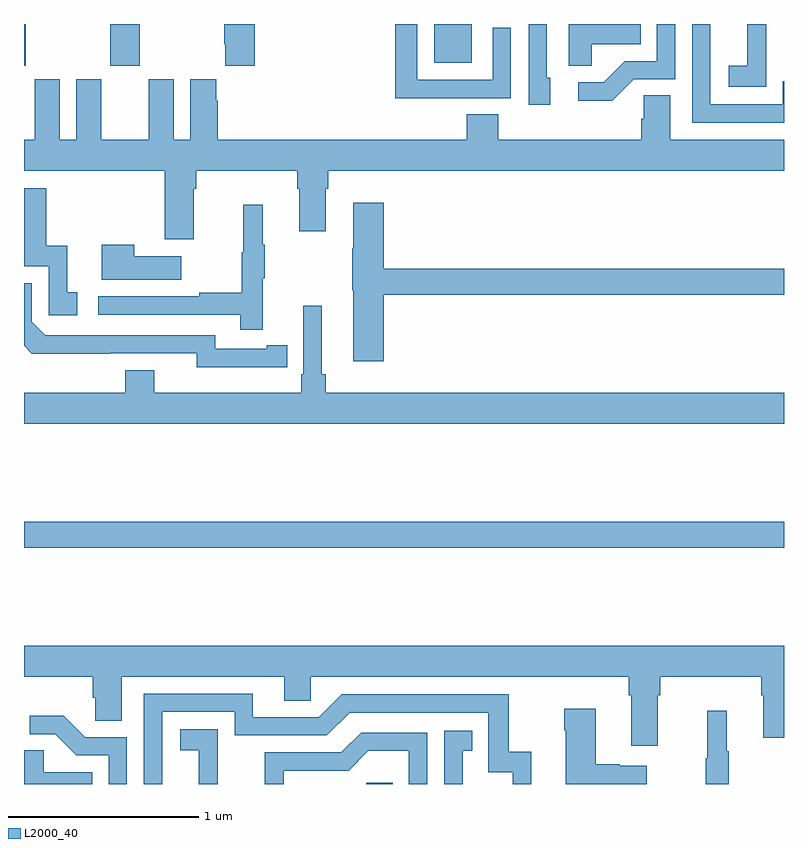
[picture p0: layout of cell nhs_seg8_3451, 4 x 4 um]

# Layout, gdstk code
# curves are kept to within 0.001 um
import gdstk
lib = gdstk.Library(unit=1e-6, precision=1e-09)
def R(c, l, rs):  # rectangles x0, y0, x1, y1
    for r in rs: c.add(gdstk.rectangle(r[:2], r[2:], *l))
def P(c, l, *ps):  # polygons
    for p in ps: c.add(gdstk.Polygon(p, *l))
L2000_40 = (2000, 40)

nhs_seg8_3451 = lib.new_cell('nhs_seg8_3451')
R(nhs_seg8_3451, L2000_40, [(324.801,1151.9,324.941,1151.907), (323,1153.144,327,1153.28), (323,1155.681,323.01,1155.9), (323.455,1155.681,323.61,1155.9)])
P(nhs_seg8_3451, L2000_40, [(325.357,1155.9),(325.199,1155.9),(325.199,1155.898),(325.16,1155.898),(325.16,1155.695),(325.357,1155.695)],
  [(324.215,1155.9),(324.055,1155.9),(324.055,1155.793),(324.059,1155.793),(324.059,1155.681),(324.215,1155.681)],
  [(326.907,1155.775),(326.906,1155.775),(326.906,1155.9),(326.807,1155.9),(326.807,1155.679),(326.709,1155.679),(326.709,1155.569),(326.907,1155.569)],
  [(325.247,1155.51),(325.563,1155.51),(325.563,1155.88),(325.467,1155.88),(325.467,1155.606),(325.071,1155.606),(325.071,1155.9),(324.955,1155.9),(324.955,1155.509),(325.247,1155.509)],
  [(327,1155.6),(326.994,1155.6),(326.994,1155.477),(326.613,1155.477),(326.613,1155.9),(326.517,1155.9),(326.517,1155.381),(327,1155.381)],
  [(326.208,1155.609),(326.427,1155.609),(326.427,1155.9),(326.331,1155.9),(326.331,1155.705),(326.162,1155.705),(326.051,1155.594),(325.917,1155.594),(325.917,1155.497),(326.095,1155.497)],
  [(325.771,1155.618),(325.752,1155.618),(325.752,1155.9),(325.656,1155.9),(325.656,1155.474),(325.771,1155.474)],
  [(325.989,1155.794),(326.246,1155.794),(326.246,1155.898),(325.868,1155.898),(325.868,1155.679),(325.989,1155.679)],
  [(323.893,1155.032),(323.906,1155.032),(323.906,1155.128),(324.437,1155.128),(324.437,1155.032),(324.449,1155.032),(324.449,1154.808),(324.589,1154.808),(324.589,1155.032),(324.602,1155.032),(324.602,1155.128),(327,1155.128),(327,1155.292),(326.401,1155.292),(326.401,1155.524),(326.262,1155.524),(326.262,1155.401),(326.249,1155.401),(326.249,1155.292),(325.496,1155.292),(325.496,1155.425),(325.331,1155.425),(325.331,1155.292),(324.02,1155.292),(324.02,1155.497),(324.013,1155.497),(324.013,1155.61),(323.876,1155.61),(323.876,1155.292),(323.788,1155.292),(323.788,1155.61),(323.657,1155.61),(323.657,1155.292),(323.407,1155.292),(323.407,1155.61),(323.276,1155.61),(323.276,1155.292),(323.188,1155.292),(323.188,1155.61),(323.057,1155.61),(323.057,1155.292),(323,1155.292),(323,1155.128),(323.741,1155.128),(323.741,1154.766),(323.893,1154.766)],
  [(323.281,1154.487),(323.228,1154.487),(323.228,1154.734),(323.117,1154.734),(323.117,1155.036),(323,1155.036),(323,1154.94),(323.001,1154.94),(323.001,1154.625),(323.13,1154.625),(323.13,1154.367),(323.281,1154.367)],
  [(324.893,1154.476),(327,1154.476),(327,1154.612),(324.893,1154.612),(324.893,1154.959),(324.734,1154.959),(324.734,1154.72),(324.727,1154.72),(324.727,1154.499),(324.734,1154.499),(324.734,1154.124),(324.893,1154.124)],
  [(324.257,1154.563),(324.268,1154.563),(324.268,1154.737),(324.257,1154.737),(324.257,1154.95),(324.154,1154.95),(324.154,1154.7),(324.147,1154.7),(324.147,1154.486),(323.923,1154.486),(323.923,1154.466),(323.391,1154.466),(323.391,1154.37),(324.139,1154.37),(324.139,1154.292),(324.257,1154.292)],
  [(323.827,1154.677),(323.579,1154.677),(323.579,1154.737),(323.408,1154.737),(323.408,1154.555),(323.827,1154.555)],
  [(324.278,1154.094),(324.386,1154.094),(324.386,1154.21),(324.278,1154.21),(324.278,1154.19),(324.006,1154.19),(324.006,1154.262),(323.112,1154.262),(323.04,1154.334),(323.04,1154.535),(323,1154.535),(323,1154.207),(323.042,1154.165),(323.91,1154.166),(323.91,1154.093)],
  [(327,1153.96),(324.587,1153.96),(324.587,1154.056),(324.568,1154.056),(324.568,1154.416),(324.471,1154.416),(324.471,1154.056),(324.458,1154.056),(324.458,1153.96),(323.686,1153.96),(323.686,1154.077),(323.534,1154.077),(323.534,1153.96),(323,1153.96),(323,1153.796),(327,1153.796)],
  [(326.335,1152.368),(326.348,1152.368),(326.348,1152.464),(326.879,1152.464),(326.879,1152.368),(326.891,1152.368),(326.891,1152.144),(327,1152.144),(327,1152.628),(323,1152.628),(323,1152.464),(323.363,1152.464),(323.363,1152.355),(323.376,1152.355),(323.376,1152.232),(323.515,1152.232),(323.515,1152.464),(324.371,1152.464),(324.371,1152.337),(324.51,1152.337),(324.51,1152.464),(326.183,1152.464),(326.183,1152.368),(326.195,1152.368),(326.195,1152.102),(326.335,1152.102)],
  [(323.727,1152.279),(324.108,1152.279),(324.108,1152.156),(324.594,1152.156),(324.714,1152.276),(325.443,1152.276),(325.443,1151.961),(325.572,1151.961),(325.572,1151.9),(325.67,1151.9),(325.67,1152.07),(325.552,1152.07),(325.552,1152.372),(324.672,1152.372),(324.552,1152.252),(324.205,1152.252),(324.205,1152.375),(323.631,1152.375),(323.631,1151.9),(323.727,1151.9)],
  [(326.278,1151.995),(326.135,1151.995),(326.135,1152.005),(326.008,1152.005),(326.008,1152.295),(325.843,1152.295),(325.843,1152.182),(325.85,1152.182),(325.85,1151.9),(326.278,1151.9)],
  [(326.71,1152.073),(326.699,1152.073),(326.699,1152.286),(326.596,1152.286),(326.596,1152.036),(326.589,1152.036),(326.589,1151.9),(326.71,1151.9)],
  [(323.541,1152.147),(323.322,1152.147),(323.209,1152.26),(323.031,1152.26),(323.031,1152.162),(323.165,1152.162),(323.276,1152.051),(323.445,1152.051),(323.445,1151.9),(323.541,1151.9)],
  [(324.02,1151.981),(324.021,1151.981),(324.021,1152.187),(323.823,1152.187),(323.823,1152.077),(323.921,1152.077),(323.921,1151.9),(324.02,1151.9)],
  [(325.309,1152.075),(325.358,1152.075),(325.358,1152.181),(325.212,1152.181),(325.212,1151.9),(325.309,1151.9)],
  [(324.366,1151.97),(324.708,1151.97),(324.812,1152.074),(325.026,1152.074),(325.026,1151.9),(325.122,1151.9),(325.122,1152.171),(324.776,1152.171),(324.671,1152.066),(324.268,1152.066),(324.268,1151.9),(324.366,1151.9)],
  [(323.36,1151.962),(323.103,1151.962),(323.103,1152.077),(323,1152.077),(323,1151.9),(323.36,1151.9)])

lib.write_gds('nhs_seg8_3451.gds')
